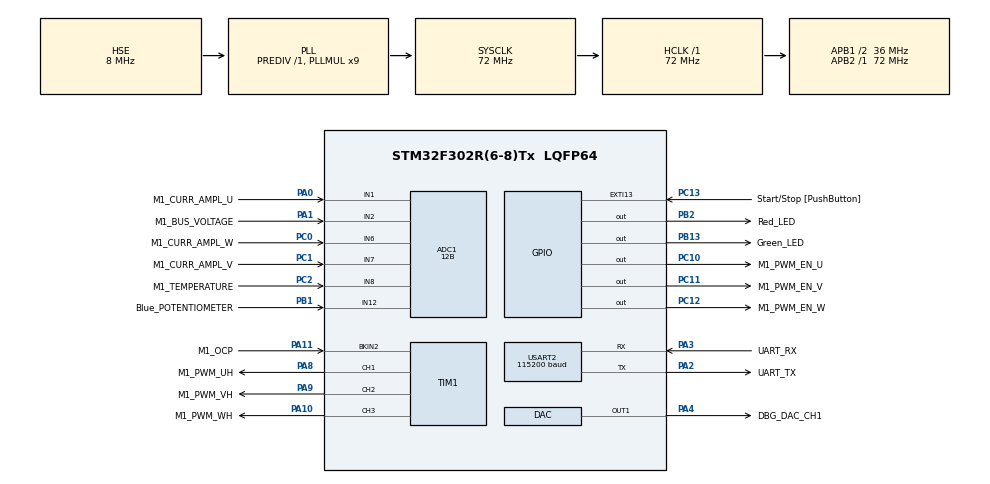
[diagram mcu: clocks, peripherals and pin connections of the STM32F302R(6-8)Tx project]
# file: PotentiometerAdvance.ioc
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ADC1.Channel-1\#ChannelRegularConversion=ADC_CHANNEL_2
ADC1.Channel-2\#ChannelRegularConversion=ADC_CHANNEL_8
ADC1.Channel-4\#ChannelRegularConversion=ADC_CHANNEL_12
ADC1.ClockPrescaler=ADC_CLOCK_SYNC_PCLK_DIV1
ADC1.ContinuousConvMode=DISABLE
ADC1.DMAContinuousRequests=DISABLE
ADC1.DataAlign=ADC_DATAALIGN_LEFT
ADC1.DiscontinuousConvMode=DISABLE
ADC1.EOCSelection=ADC_EOC_SINGLE_CONV
ADC1.EnableAnalogWatchDog1=false
ADC1.EnableAnalogWatchDog2=false
ADC1.EnableAnalogWatchDog3=false
ADC1.EnableInjectedConversion=ENABLE
ADC1.EnableRegularConversion=ENABLE
ADC1.ExternalTrigConv=ADC_SOFTWARE_START
ADC1.ExternalTrigConvEdge=ADC_EXTERNALTRIGCONVEDGE_NONE
ADC1.ExternalTrigInjecConv=ADC_EXTERNALTRIGINJECCONV_T1_TRGO
ADC1.ExternalTrigInjecConvEdge=ADC_EXTERNALTRIGINJECCONV_EDGE_RISING
ADC1.InjNumberOfConversion=3
ADC1.InjectedChannel-1\#ChannelInjectedConversion=ADC_CHANNEL_1
ADC1.InjectedChannel-2\#ChannelInjectedConversion=ADC_CHANNEL_7
ADC1.InjectedChannel-3\#ChannelInjectedConversion=ADC_CHANNEL_6
ADC1.InjectedConvMode=None
ADC1.InjectedOffset-1\#ChannelInjectedConversion=0
ADC1.InjectedOffset-2\#ChannelInjectedConversion=0
ADC1.InjectedOffset-3\#ChannelInjectedConversion=0
ADC1.InjectedOffsetNumber-1\#ChannelInjectedConversion=ADC_OFFSET_NONE
ADC1.InjectedOffsetNumber-2\#ChannelInjectedConversion=ADC_OFFSET_NONE
ADC1.InjectedOffsetNumber-3\#ChannelInjectedConversion=ADC_OFFSET_NONE
ADC1.InjectedRank-1\#ChannelInjectedConversion=1
ADC1.InjectedRank-2\#ChannelInjectedConversion=2
ADC1.InjectedRank-3\#ChannelInjectedConversion=3
ADC1.InjectedSamplingTime-1\#ChannelInjectedConversion=ADC_SAMPLETIME_7CYCLES_5
ADC1.InjectedSamplingTime-2\#ChannelInjectedConversion=ADC_SAMPLETIME_7CYCLES_5
ADC1.InjectedSamplingTime-3\#ChannelInjectedConversion=ADC_SAMPLETIME_7CYCLES_5
ADC1.LowPowerAutoWait=DISABLE
ADC1.NbrOfConversion=3
ADC1.NbrOfConversionFlag=1
ADC1.Offset-1\#ChannelRegularConversion=0
ADC1.Offset-2\#ChannelRegularConversion=0
ADC1.Offset-4\#ChannelRegularConversion=0
ADC1.OffsetNumber-1\#ChannelRegularConversion=ADC_OFFSET_NONE
ADC1.OffsetNumber-2\#ChannelRegularConversion=ADC_OFFSET_NONE
ADC1.OffsetNumber-4\#ChannelRegularConversion=ADC_OFFSET_NONE
ADC1.Overrun=ADC_OVR_DATA_PRESERVED
ADC1.QueueInjectedContext=ENABLE
ADC1.Rank-1\#ChannelRegularConversion=1
ADC1.Rank-2\#ChannelRegularConversion=2
ADC1.Rank-4\#ChannelRegularConversion=3
ADC1.Resolution=ADC_RESOLUTION_12B
ADC1.SamplingTime-1\#ChannelRegularConversion=ADC_SAMPLETIME_61CYCLES_5
ADC1.SamplingTime-2\#ChannelRegularConversion=ADC_SAMPLETIME_61CYCLES_5
ADC1.SamplingTime-4\#ChannelRegularConversion=ADC_SAMPLETIME_61CYCLES_5
ADC1.ScanConvMode=ADC_SCAN_ENABLE
ADC1.SubFamily=STM32F302x8
ADC1.master=1
DAC.DAC_OutputBuffer=DAC_OUTPUTBUFFER_DISABLE
DAC.DAC_Trigger=DAC_TRIGGER_SOFTWARE
ExtraMW=MotorControl
ExtraMW.MotorControl.Config=MotorControl
ExtraMW.MotorControl.Mode=MotorControl
ExtraMW.MotorControl.Root=MotorControlDev
ExtraMW.MotorControl.Template=templates
Mcu.Family=STM32F3
Mcu.Name=STM32F302R(6-8)Tx
Mcu.Package=LQFP64
MotorControl.ADC_1_PERIPH=ADC1
MotorControl.ADC_2_PERIPH=ADC2
MotorControl.ADC_AHBPERIPH=RCC_AHBPeriph_ADC12
MotorControl.ADC_CLOCK_WB_DIV=1
MotorControl.ADC_CLOCK_WB_FREQ=72
MotorControl.ADC_PERIPH=ADC1
MotorControl.ALIGNMENT_ANGLE_DEG=90
MotorControl.ALIGNMENT_DURATION=700
MotorControl.AMPLIFICATION_GAIN=1.53
MotorControl.ANGC={0,0,0,0,0,0,0,0}
MotorControl.BEMF_CONSISTENCY_GAIN=64
MotorControl.BEMF_CONSISTENCY_TOL=64
MotorControl.BKIN1_FILTER=0
MotorControl.BKIN2_FILTER=7
MotorControl.BKIN2_MODE=EXT_MODE
MotorControl.BKIN_MODE=NONE
MotorControl.BOARD=CUSTOM
MotorControl.BRKIN2_GPIO_AF=GPIO_AF_12
MotorControl.BRKIN_GPIO_AF=GPIO_AF_2
MotorControl.BUS_VOLTAGE_READING=true
MotorControl.CLOCK_FREQUENCY=CPU_CLK_72_MHZ
MotorControl.CLOCK_SOURCE=EXTERNAL
MotorControl.CONSTANT1_D=63808
MotorControl.CONSTANT1_Q=63808
MotorControl.CONSTANT2_QD=3624
MotorControl.CORD_BEMF_CONSISTENCY_GAIN=64
MotorControl.CORD_BEMF_CONSISTENCY_TOL=64
MotorControl.CORD_F1=1024
MotorControl.CORD_F2=16384
MotorControl.CORD_FIFO_DEPTH_01HZ=64
MotorControl.CORD_FIFO_DEPTH_DPP=64
MotorControl.CORD_GAIN1=-1301
MotorControl.CORD_GAIN2=995
MotorControl.CORD_MAX_ACCEL_DPPP=67
MotorControl.CORD_MEAS_ERRORS_BEFORE_FAULTS=3
MotorControl.CORD_VARIANCE_THRESHOLD=4
MotorControl.CPU_CLK_72_MHZ=true
MotorControl.CTRBDID=1
MotorControl.CURRENT_READING_TOPOLOGY=THREE_SHUNT
MotorControl.CURR_SAMPLING_TIME=7
MotorControl.DAC_EMULATED=false
MotorControl.DAC_FUNCTIONALITY=true
MotorControl.DAC_TIMER_CH1_GPIO_PIN=LL_GPIO_PIN_4
MotorControl.DAC_TIMER_CH1_GPIO_PORT=GPIOA
MotorControl.DAC_TIMER_CH2_GPIO_PIN=LL_GPIO_PIN_0
MotorControl.DAC_TIMER_CH2_GPIO_PORT=GPIOA
MotorControl.DAC_TIMER_REMAPPING=NO_REMAP
MotorControl.DAC_TIMER_SELECTION=TIM3
MotorControl.DC_CURRENT_RS_MEAS=1.20
MotorControl.DEBUG_DAC_CH1=true
MotorControl.DEBUG_DAC_CH2=false
MotorControl.DEFAULT_CONTROL_MODE=STC_SPEED_MODE
MotorControl.DEFAULT_DAC_CHANNEL_1=MC_PROTOCOL_REG_I_A
MotorControl.DEFAULT_DAC_CHANNEL_2=MC_PROTOCOL_REG_I_B
MotorControl.DEFAULT_DAC_MOTOR=0
MotorControl.DEFAULT_FLUX_COMPONENT=0
MotorControl.DEFAULT_TARGET_SPEED_RPM=3000
MotorControl.DEFAULT_TORQUE_COMPONENT=0
MotorControl.DISSIPATIVE_BRAKE_POLARITY=DOUT_ACTIVE_HIGH
MotorControl.DRIVES_NUMBER_SELECTION=SINGLEDRIVE
MotorControl.EMERGENCY2_STOP_GPIO_PIN=LL_GPIO_PIN_11
MotorControl.EMERGENCY2_STOP_GPIO_PORT=GPIOA
MotorControl.EMERGENCY_STOP_GPIO_PIN=LL_GPIO_PIN_11
MotorControl.EMERGENCY_STOP_GPIO_PORT=GPIOA
MotorControl.ENABLE_SL_ALGO_FROM_PHASE=1
MotorControl.ENCODER_AVAILABLE=false
MotorControl.ENCODER_PPR=400
MotorControl.ENC_AVERAGING_FIFO_DEPTH=16
MotorControl.ENC_A_GPIO_PIN=LL_GPIO_PIN_15
MotorControl.ENC_A_GPIO_PORT=GPIOA
MotorControl.ENC_B_GPIO_PIN=LL_GPIO_PIN_3
MotorControl.ENC_B_GPIO_PORT=GPIOB
MotorControl.ENC_ICx_FILTER=50
MotorControl.ENC_INVERT_SPEED=false
MotorControl.ENC_MEAS_ERRORS_BEFORE_FAULTS=3
MotorControl.ENC_TIMER_REMAPPING=NO_REMAP_TIM2
MotorControl.ENC_TIMER_SELECTION=ENC_TIM2
MotorControl.EXT_CLK_8_MHZ=true
MotorControl.EXT_CLOCK_FREQUENCY=EXT_CLK_8_MHZ
MotorControl.F1=1024
MotorControl.F2=16384
MotorControl.FEEDBACK_NET_FILTERING=false
MotorControl.FEED_FORWARD_CURRENT_REG_ENABLING=false
MotorControl.FINAL_I_ALIGNMENT=19552
MotorControl.FLUX_WEAKENING_ENABLING=false
MotorControl.FW_KIDIV=32768
MotorControl.FW_KI_GAIN=5000
MotorControl.FW_KPDIV=32768
MotorControl.FW_KP_GAIN=3000
MotorControl.FW_VOLTAGE_REF=985
MotorControl.GAIN1=-1301
MotorControl.GAIN2=995
MotorControl.H1_GPIO_PIN=LL_GPIO_PIN_15
MotorControl.H1_GPIO_PORT=GPIOA
MotorControl.H2_GPIO_PIN=LL_GPIO_PIN_3
MotorControl.H2_GPIO_PORT=GPIOB
MotorControl.H3_GPIO_PIN=LL_GPIO_PIN_10
MotorControl.H3_GPIO_PORT=GPIOB
MotorControl.HALL_AVERAGING_FIFO_DEPTH=6
MotorControl.HALL_ICx_FILTER=94
MotorControl.HALL_MEAS_ERRORS_BEFORE_FAULTS=3
MotorControl.HALL_PHASE_SHIFT=300
MotorControl.HALL_SENSORS_AVAILABLE=false
MotorControl.HALL_SENSORS_PLACEMENT=DEGREES_120
MotorControl.HALL_TIMER_REMAPPING=NO_REMAP_TIM2
MotorControl.HALL_TIMER_SELECTION=HALL_TIM2
MotorControl.HFI_AMPLITUDE=25
MotorControl.HFI_DC_0_COEFF=0.00146
MotorControl.HFI_DC_1_COEFF=0.002921
MotorControl.HFI_DC_2_COEFF=0.00146
MotorControl.HFI_DC_3_COEFF=1.889033
MotorControl.HFI_DC_4_COEFF=-0.894874
MotorControl.HFI_DEBUG_MODE=false
MotorControl.HFI_FREQUENCY=400
MotorControl.HFI_HIFRAMPLSCAN=25
MotorControl.HFI_HP_ID_0_COEFF=0.939693
MotorControl.HFI_HP_ID_1_COEFF=-1.879386
MotorControl.HFI_HP_ID_2_COEFF=0.939693
MotorControl.HFI_HP_ID_3_COEFF=1.875746
MotorControl.HFI_HP_ID_4_COEFF=-0.883026
MotorControl.HFI_IDH_DELAY=32400
MotorControl.HFI_LOCKFREQ=33
MotorControl.HFI_LP_ID_0_COEFF=0.00597
MotorControl.HFI_LP_ID_1_COEFF=0.011941
MotorControl.HFI_LP_ID_2_COEFF=0.00597
MotorControl.HFI_LP_ID_3_COEFF=1.769837
MotorControl.HFI_LP_ID_4_COEFF=-0.793719
MotorControl.HFI_MAXANGLEDIFF=3640
MotorControl.HFI_MINIMUM_SPEED_RPM=402
MotorControl.HFI_NOTCH_IQD_0_COEFF=0.969619
MotorControl.HFI_NOTCH_IQD_1_COEFF=-1.923946
MotorControl.HFI_NOTCH_IQD_2_COEFF=0.969619
MotorControl.HFI_NOTCH_IQD_3_COEFF=1.923946
MotorControl.HFI_NOTCH_IQD_4_COEFF=-0.939237
MotorControl.HFI_NSDETPOINTSSKIP=10
MotorControl.HFI_NSMAXDETPOINTS=20
MotorControl.HFI_NS_MIN_SAT_DIFF=0
MotorControl.HFI_PID_KIDIV=32768
MotorControl.HFI_PID_KI_DEFAULT=400
MotorControl.HFI_PID_KPDIV=16384
MotorControl.HFI_PID_KP_DEFAULT=800
MotorControl.HFI_PLL_KI_DEFAULT=0.00400
MotorControl.HFI_PLL_KP_DEFAULT=0.00060
MotorControl.HFI_RESTARTTIMESEC=0.1
MotorControl.HFI_RESTART_RPM_TH=(((HFI_STO_RPM_TH)+(STO_HFI_RPM_TH))/2)
MotorControl.HFI_REVERT_DIRECTION=true
MotorControl.HFI_SCANROTATIONSNO=3
MotorControl.HFI_SPD_BUFFER_DEPTH_01HZ=64
MotorControl.HFI_STEPANGLE=3640
MotorControl.HFI_STO_RPM_TH=OBS_MINIMUM_SPEED_RPM
MotorControl.HFI_WAITAFTERNS2=4
MotorControl.HFI_WAITBEFORESN=6
MotorControl.HFI_WAITSYNCH=20
MotorControl.HFI_WAITTRACK=20
MotorControl.HIGH_SIDE_BRAKE_STATE=false
MotorControl.HIGH_SIDE_IDLE_STATE=false
MotorControl.HW_COMPLEMENTED_LOW_SIDE=true
MotorControl.HW_DEAD_TIME_NS=800
MotorControl.HW_OV_CURRENT_PROT_BYPASS=false
MotorControl.ID_DEMAG=-12032
MotorControl.INRUSH_CURRLIMIT_AT_POWER_ON=false
MotorControl.INRUSH_CURRLIMIT_CHANGE_AFTER_MS=1000
MotorControl.INRUSH_CURRLIMIT_ENABLING=false
MotorControl.INRUSH_CURRLIMIT_GPIO_PIN=LL_GPIO_PIN_4
MotorControl.INRUSH_CURRLIMIT_GPIO_PORT=GPIOD
MotorControl.INRUSH_CURR_LIMITER_POLARITY=DOUT_ACTIVE_HIGH
MotorControl.INTERNAL_OVERCURRENTPROTECTION=false
MotorControl.INTERNAL_OVERVOLTAGEPROTECTION=false
MotorControl.IQMAX=12032
MotorControl.LCD_JOYSTICK_FUNCTIONALITY=false
MotorControl.LCD_MODE=LCD_FULL
MotorControl.LDLQ_RATIO=1.000
MotorControl.LOW_SIDE_BRAKE_STATE=false
MotorControl.LOW_SIDE_IDLE_STATE=false
MotorControl.LOW_SIDE_SIGNALS_ENABLING=ES_GPIO
MotorControl.LS=0.000018
MotorControl.MAX_APPLICATION_SPEED=18000
MotorControl.MAX_MODULATION_100_PER_CENT=true
MotorControl.MAX_MODULATION_INDEX=MAX_MODULATION_100_PER_CENT
MotorControl.MCU=STM32F302R8
MotorControl.MCU_SUPPLY_VOLTAGE=3.30
MotorControl.MCU_TYPE=STM32F302X8
MotorControl.MC_WORKBENCH_VERSION=5.1.2.18276
MotorControl.MEAS_ERRORS_BEFORE_FAULTS=3
MotorControl.MIN_APPLICATION_SPEED=0
MotorControl.MOTOR_MAX_SPEED_RPM=18000
MotorControl.MOTOR_TYPE=PMSM
MotorControl.MOTOR_VOLTAGE_CONSTANT=0.8
MotorControl.MTPA_ENABLING=false
MotorControl.NB_CONSECUTIVE_TESTS=2
MotorControl.NOMINAL_BUS_VOLTAGE_V=12
MotorControl.NOMINAL_CURRENT=12032
MotorControl.OBS_MEAS_ERRORS_BEFORE_FAULTS=3
MotorControl.OBS_MINIMUM_SPEED_RPM=800
MotorControl.OCPA_INVERTINGINPUT=COMPX_InvertingInput_VREF
MotorControl.OCPA_INVERTINGINPUT_GPIO_PIN=LL_GPIO_PIN_4
MotorControl.OCPA_INVERTINGINPUT_GPIO_PORT=GPIOA
MotorControl.OCPA_INVERTINGINPUT_MODE=INT_MODE
MotorControl.OCPA_NONINVERTINGINPUT=COMP1_NonInvertingInput_PA1
MotorControl.OCPA_NONINVERTINGINPUT_GPIO_PIN=LL_GPIO_PIN_1
MotorControl.OCPA_NONINVERTINGINPUT_GPIO_PORT=GPIOA
MotorControl.OCPA_OUTPUT=COMP_Output_TIM1BKIN2
MotorControl.OCPA_OUTPUTPOL=COMP_OutputPol_NonInverted
MotorControl.OCPA_OUTPUT_GPIO_AF=GPIO_AF_8
MotorControl.OCPA_OUTPUT_GPIO_PIN=LL_GPIO_PIN_0
MotorControl.OCPA_OUTPUT_GPIO_PORT=GPIOA
MotorControl.OCPA_OUTPUT_MODE=INT_MODE
MotorControl.OCPA_SELECTION=COMP1
MotorControl.OCPB_INVERTINGINPUT=COMPX_InvertingInput_VREF
MotorControl.OCPB_INVERTINGINPUT_GPIO_PIN=LL_GPIO_PIN_4
MotorControl.OCPB_INVERTINGINPUT_GPIO_PORT=GPIOA
MotorControl.OCPB_INVERTINGINPUT_MODE=INT_MODE
MotorControl.OCPB_NONINVERTINGINPUT=COMP2_NonInvertingInput_PA7
MotorControl.OCPB_NONINVERTINGINPUT_GPIO_PIN=LL_GPIO_PIN_7
MotorControl.OCPB_NONINVERTINGINPUT_GPIO_PORT=GPIOA
MotorControl.OCPB_OUTPUT=COMP_Output_TIM1BKIN2
MotorControl.OCPB_OUTPUTPOL=COMP_OutputPol_NonInverted
MotorControl.OCPB_OUTPUT_GPIO_AF=GPIO_AF_8
MotorControl.OCPB_OUTPUT_GPIO_PIN=LL_GPIO_PIN_2
MotorControl.OCPB_OUTPUT_GPIO_PORT=GPIOA
MotorControl.OCPB_OUTPUT_MODE=INT_MODE
MotorControl.OCPB_SELECTION=COMP2
MotorControl.OCPC_INVERTINGINPUT=COMPX_InvertingInput_VREF
MotorControl.OCPC_INVERTINGINPUT_GPIO_PIN=LL_GPIO_PIN_4
MotorControl.OCPC_INVERTINGINPUT_GPIO_PORT=GPIOA
MotorControl.OCPC_INVERTINGINPUT_MODE=INT_MODE
MotorControl.OCPC_NONINVERTINGINPUT=COMP3_NonInvertingInput_PD14
MotorControl.OCPC_NONINVERTINGINPUT_GPIO_PIN=LL_GPIO_PIN_14
MotorControl.OCPC_NONINVERTINGINPUT_GPIO_PORT=GPIOD
MotorControl.OCPC_OUTPUT=COMP_Output_TIM1BKIN2
MotorControl.OCPC_OUTPUTPOL=COMP_OutputPol_NonInverted
MotorControl.OCPC_OUTPUT_GPIO_AF=GPIO_AF_7
MotorControl.OCPC_OUTPUT_GPIO_PIN=LL_GPIO_PIN_8
MotorControl.OCPC_OUTPUT_GPIO_PORT=GPIOC
MotorControl.OCPC_OUTPUT_MODE=INT_MODE
MotorControl.OCPC_SELECTION=COMP3
MotorControl.OCPREF=23830
MotorControl.OCP_COMP_THRESHOLD=0.50
MotorControl.OCP_FILTER=COMP_Mode_HighSpeed
MotorControl.OCP_INVERTINGINPUT=COMPX_InvertingInput_VREF
MotorControl.OCP_INVERTINGINPUT_GPIO_PIN=LL_GPIO_PIN_4
MotorControl.OCP_INVERTINGINPUT_GPIO_PORT=GPIOA
MotorControl.OCP_INVERTINGINPUT_MODE=INT_MODE
MotorControl.OCP_NONINVERTINGINPUT=COMP2_NonInvertingInput_PA7
MotorControl.OCP_NONINVERTINGINPUT_GPIO_PIN=LL_GPIO_PIN_7
MotorControl.OCP_NONINVERTINGINPUT_GPIO_PORT=GPIOA
MotorControl.OCP_OUTPUT=COMP_Output_TIM1BKIN2
MotorControl.OCP_OUTPUTPOL=COMP_OutputPol_NonInverted
MotorControl.OCP_OUTPUT_GPIO_AF=GPIO_AF_8
MotorControl.OCP_OUTPUT_GPIO_PIN=LL_GPIO_PIN_2
MotorControl.OCP_OUTPUT_GPIO_PORT=GPIOA
MotorControl.OCP_OUTPUT_MODE=INT_MODE
MotorControl.OCP_SELECTION=COMP2
MotorControl.OFST={0,0,0,0,0,0,0,0}
MotorControl.ON_OVER_VOLTAGE=TURN_OFF_PWM
MotorControl.OPAMP1_INVERTINGINPUT=OPAMP1_InvertingInput_PGA
MotorControl.OPAMP1_INVERTINGINPUT_GPIO_PIN=LL_GPIO_PIN_3
MotorControl.OPAMP1_INVERTINGINPUT_GPIO_PORT=GPIOA
MotorControl.OPAMP1_INVERTINGINPUT_MODE=INT_MODE
MotorControl.OPAMP1_NONINVERTINGINPUT_PHA=OPAMP1_NonInvertingInput_PA1
MotorControl.OPAMP1_NONINVERTINGINPUT_PHA_GPIO_PIN=LL_GPIO_PIN_1
MotorControl.OPAMP1_NONINVERTINGINPUT_PHA_GPIO_PORT=GPIOA
MotorControl.OPAMP1_NONINVERTINGINPUT_PHB=OPAMP1_NonInvertingInput_PA7
MotorControl.OPAMP1_NONINVERTINGINPUT_PHB_GPIO_PIN=LL_GPIO_PIN_7
MotorControl.OPAMP1_NONINVERTINGINPUT_PHB_GPIO_PORT=GPIOA
MotorControl.OPAMP1_OUT_GPIO_PIN=LL_GPIO_PIN_2
MotorControl.OPAMP1_OUT_GPIO_PORT=GPIOA
MotorControl.OPAMP1_SELECTION=OPAMP1
MotorControl.OPAMP2_INVERTINGINPUT=OPAMP2_InvertingInput_PGA
MotorControl.OPAMP2_INVERTINGINPUT_GPIO_PIN=LL_GPIO_PIN_5
MotorControl.OPAMP2_INVERTINGINPUT_GPIO_PORT=GPIOC
MotorControl.OPAMP2_INVERTINGINPUT_MODE=INT_MODE
MotorControl.OPAMP2_NONINVERTINGINPUT_PHA=OPAMP2_NonInvertingInput_PB0
MotorControl.OPAMP2_NONINVERTINGINPUT_PHA_GPIO_PIN=LL_GPIO_PIN_0
MotorControl.OPAMP2_NONINVERTINGINPUT_PHA_GPIO_PORT=GPIOB
MotorControl.OPAMP2_NONINVERTINGINPUT_PHB=OPAMP2_NonInvertingInput_PA7
MotorControl.OPAMP2_NONINVERTINGINPUT_PHB_GPIO_PIN=LL_GPIO_PIN_7
MotorControl.OPAMP2_NONINVERTINGINPUT_PHB_GPIO_PORT=GPIOA
MotorControl.OPAMP2_NONINVERTINGINPUT_PHC=OPAMP2_NonInvertingInput_PB0
MotorControl.OPAMP2_NONINVERTINGINPUT_PHC_GPIO_PIN=LL_GPIO_PIN_0
MotorControl.OPAMP2_NONINVERTINGINPUT_PHC_GPIO_PORT=GPIOB
MotorControl.OPAMP2_OUT_GPIO_PIN=LL_GPIO_PIN_6
MotorControl.OPAMP2_OUT_GPIO_PORT=GPIOA
MotorControl.OPAMP2_SELECTION=OPAMP2
MotorControl.OPAMP_INVERTINGINPUT=OPAMP1_InvertingInput_PGA
MotorControl.OPAMP_INVERTINGINPUT_GPIO_PIN=LL_GPIO_PIN_3
MotorControl.OPAMP_INVERTINGINPUT_GPIO_PORT=GPIOA
MotorControl.OPAMP_INVERTINGINPUT_MODE=INT_MODE
MotorControl.OPAMP_NONINVERTINGINPUT=OPAMP1_NonInvertingInput_PA7
MotorControl.OPAMP_NONINVERTINGINPUT_GPIO_PIN=LL_GPIO_PIN_7
MotorControl.OPAMP_NONINVERTINGINPUT_GPIO_PORT=GPIOA
MotorControl.OPAMP_OUT_GPIO_PIN=LL_GPIO_PIN_2
MotorControl.OPAMP_OUT_GPIO_PORT=GPIOA
MotorControl.OPAMP_PGACONNECT=OPAMP_PGAConnect_No
MotorControl.OPAMP_PGAGAIN=OPAMP_OPAMP_PGAGain_2
MotorControl.OPAMP_SELECTION=OPAMP1
MotorControl.OPAMP_TYPE_GAIN=INTERNAL
MotorControl.OPEN_LOOP_FOC=false
MotorControl.OPEN_LOOP_K=44
MotorControl.OPEN_LOOP_OFF=4400
MotorControl.OPEN_LOOP_SPEED_RAMP_DURATION_MS=1000
MotorControl.OPEN_LOOP_SPEED_RPM=100
MotorControl.OPEN_LOOP_VF=false
MotorControl.OPEN_LOOP_VOLTAGE_d=6000
MotorControl.OVERCURR_FEEDBACK_POLARITY=EMSTOP2_ACTIVE_LOW
MotorControl.OVERCURR_PROTECTION_HW_DISABLING=DOUT_ACTIVE_HIGH
MotorControl.OVPREF=23830
MotorControl.OVP_FILTER=COMP_Mode_HighSpeed
MotorControl.OVP_INVERTINGINPUT=COMPX_InvertingInput_VREF
MotorControl.OVP_INVERTINGINPUT_GPIO_PIN=LL_GPIO_PIN_4
MotorControl.OVP_INVERTINGINPUT_GPIO_PORT=GPIOA
MotorControl.OVP_INVERTINGINPUT_MODE=INT_MODE
MotorControl.OVP_NONINVERTINGINPUT=COMP2_NonInvertingInput_PA7
MotorControl.OVP_NONINVERTINGINPUT_GPIO_PIN=LL_GPIO_PIN_7
MotorControl.OVP_NONINVERTINGINPUT_GPIO_PORT=GPIOA
MotorControl.OVP_OUTPUT=COMP_Output_TIM1BKIN
MotorControl.OVP_OUTPUTPOL=COMP_OutputPol_NonInverted
MotorControl.OVP_OUTPUT_GPIO_AF=GPIO_AF_8
MotorControl.OVP_OUTPUT_GPIO_PIN=LL_GPIO_PIN_2
MotorControl.OVP_OUTPUT_GPIO_PORT=GPIOA
MotorControl.OVP_OUTPUT_MODE=INT_MODE
MotorControl.OVP_SELECTION=COMP2
MotorControl.OV_CURR_BYPASS_GPIO_PIN=LL_GPIO_PIN_5
MotorControl.OV_CURR_BYPASS_GPIO_PORT=GPIOD
MotorControl.OV_TEMPERATURE_HYSTERESIS_C=10
MotorControl.OV_TEMPERATURE_PROT_ENABLING=true
MotorControl.OV_TEMPERATURE_THRESHOLD_C=110
MotorControl.OV_VOLTAGE_PROT_ENABLING=true
MotorControl.OV_VOLTAGE_THRESHOLD_V=36
MotorControl.PHASE1_DURATION=500
MotorControl.PHASE1_FINAL_CURRENT=10026
MotorControl.PHASE1_FINAL_SPEED_RPM=0
MotorControl.PHASE2_DURATION=1000
MotorControl.PHASE2_FINAL_CURRENT=10026
MotorControl.PHASE2_FINAL_SPEED_RPM=3000
MotorControl.PHASE3_DURATION=0
MotorControl.PHASE3_FINAL_CURRENT=10026
MotorControl.PHASE3_FINAL_SPEED_RPM=3000
MotorControl.PHASE4_DURATION=0
MotorControl.PHASE4_FINAL_CURRENT=10026
MotorControl.PHASE4_FINAL_SPEED_RPM=3000
MotorControl.PHASE5_DURATION=0
MotorControl.PHASE5_FINAL_CURRENT=10026
MotorControl.PHASE5_FINAL_SPEED_RPM=3000
MotorControl.PHASE_CURRENTS_ADC=ADC1_2
MotorControl.PHASE_CURRENTS_CHANNEL=ADC_CHANNEL_9
MotorControl.PHASE_CURRENTS_GPIO_PIN=LL_GPIO_PIN_0
MotorControl.PHASE_CURRENTS_GPIO_PORT=GPIOA
MotorControl.PHASE_UH_GPIO_AF=GPIO_AF_6
MotorControl.PHASE_UH_GPIO_PIN=LL_GPIO_PIN_8
MotorControl.PHASE_UH_GPIO_PORT=GPIOA
MotorControl.PHASE_UH_POLARITY=H_ACTIVE_HIGH
MotorControl.PHASE_UL_GPIO_AF=GPIO_AF_0
MotorControl.PHASE_UL_GPIO_PIN=LL_GPIO_PIN_10
MotorControl.PHASE_UL_GPIO_PORT=GPIOC
MotorControl.PHASE_UL_POLARITY=L_ACTIVE_HIGH
MotorControl.PHASE_U_CURR_ADC=ADC1
MotorControl.PHASE_U_CURR_CHANNEL=ADC_CHANNEL_1
MotorControl.PHASE_U_GPIO_PIN=LL_GPIO_PIN_0
MotorControl.PHASE_U_GPIO_PORT=GPIOA
MotorControl.PHASE_VH_GPIO_AF=GPIO_AF_6
MotorControl.PHASE_VH_GPIO_PIN=LL_GPIO_PIN_9
MotorControl.PHASE_VH_GPIO_PORT=GPIOA
MotorControl.PHASE_VH_POLARITY=H_ACTIVE_HIGH
MotorControl.PHASE_VL_GPIO_AF=GPIO_AF_0
MotorControl.PHASE_VL_GPIO_PIN=LL_GPIO_PIN_11
MotorControl.PHASE_VL_GPIO_PORT=GPIOC
MotorControl.PHASE_VL_POLARITY=L_ACTIVE_HIGH
MotorControl.PHASE_V_CURR_ADC=ADC1
MotorControl.PHASE_V_CURR_CHANNEL=ADC_CHANNEL_7
MotorControl.PHASE_V_GPIO_PIN=LL_GPIO_PIN_1
MotorControl.PHASE_V_GPIO_PORT=GPIOC
MotorControl.PHASE_WH_GPIO_AF=GPIO_AF_6
MotorControl.PHASE_WH_GPIO_PIN=LL_GPIO_PIN_10
MotorControl.PHASE_WH_GPIO_PORT=GPIOA
MotorControl.PHASE_WH_POLARITY=H_ACTIVE_HIGH
MotorControl.PHASE_WL_GPIO_AF=GPIO_AF_0
MotorControl.PHASE_WL_GPIO_PIN=LL_GPIO_PIN_12
MotorControl.PHASE_WL_GPIO_PORT=GPIOC
MotorControl.PHASE_WL_POLARITY=L_ACTIVE_HIGH
MotorControl.PHASE_W_CURR_ADC=ADC1
MotorControl.PHASE_W_CURR_CHANNEL=ADC_CHANNEL_6
MotorControl.PHASE_W_GPIO_PIN=LL_GPIO_PIN_0
MotorControl.PHASE_W_GPIO_PORT=GPIOC
MotorControl.PID_FLUX_KD_DEFAULT=100
MotorControl.PID_FLUX_KI_DEFAULT=294
MotorControl.PID_FLUX_KP_DEFAULT=964
MotorControl.PID_SPEED_KD_DEFAULT=0
MotorControl.PID_SPEED_KI_DEFAULT=600
MotorControl.PID_SPEED_KP_DEFAULT=1000
MotorControl.PID_TORQUE_KD_DEFAULT=100
MotorControl.PID_TORQUE_KI_DEFAULT=294
MotorControl.PID_TORQUE_KP_DEFAULT=964
MotorControl.PLL_KI_GAIN=118
MotorControl.PLL_KP_GAIN=3352
MotorControl.POLE_PAIR_NUM=7
MotorControl.PWBDID=2
MotorControl.PWM_FREQUENCY=20000
MotorControl.PWM_TIMER_REMAPPING=PWM_PARTIAL_REMAP
MotorControl.PWM_TIMER_SELECTION=PWM_TIM1
MotorControl.REGCONVADC=ADC1
MotorControl.REGULATION_EXECUTION_RATE=1
MotorControl.RS=0.11
MotorControl.RSHUNT=0.330
MotorControl.R_BRAKE_GPIO_PIN=LL_GPIO_PIN_5
MotorControl.R_BRAKE_GPIO_PORT=GPIOD
MotorControl.R_BRAKE_SWITCH_OFF_THRES_V=29
MotorControl.SEGDIV=0
MotorControl.SERIAL_COMMUNICATION=true
MotorControl.SERIAL_COM_CHANNEL1=MC_PROTOCOL_REG_I_A
MotorControl.SERIAL_COM_CHANNEL2=MC_PROTOCOL_REG_I_A
MotorControl.SERIAL_COM_MODE=COM_BIDIRECTIONAL
MotorControl.SERIAL_COM_MOTOR=0
MotorControl.SHARED_SIGNAL_ENABLE=false
MotorControl.SINGLEDRIVE=true
MotorControl.SPD_DIFFERENTIAL_TERM_ENABLING=false
MotorControl.SPEED_BAND_LOWER_LIMIT=15
MotorControl.SPEED_BAND_UPPER_LIMIT=17
MotorControl.SPEED_FEEDBACK_CHECK=true
MotorControl.SPEED_LOOP_FREQUENCY_HZ=1000
MotorControl.SPEED_SENSOR_SELECTION=STATE_OBSERVER_PLL
MotorControl.SP_KDDIV=16
MotorControl.SP_KIDIV=256
MotorControl.SP_KPDIV=16
MotorControl.STARTING_ANGLE_DEG=90
MotorControl.START_STOP_BTN=false
MotorControl.START_STOP_GPIO_PIN=LL_GPIO_PIN_13
MotorControl.START_STOP_GPIO_PORT=GPIOC
MotorControl.START_STOP_POLARITY=DIN_ACTIVE_LOW
MotorControl.STATE_OBSERVER_PLL=true
MotorControl.STM32F302X8=true
MotorControl.STO_FIFO_DEPTH_01HZ=64
MotorControl.STO_FIFO_DEPTH_DPP=64
MotorControl.STO_HFI_RPM_TH=460
MotorControl.SW_DEADTIME_NS=800
MotorControl.SW_OV_CURRENT_PROT_ENABLING=true
MotorControl.T0_C=25
MotorControl.TEMPERATURE_READING=true
MotorControl.TEMP_ADC_SAMPLING_TIME=61
MotorControl.TEMP_FDBK_ADC=ADC1
MotorControl.TEMP_FDBK_CHANNEL=ADC_CHANNEL_8
MotorControl.TEMP_FDBK_GPIO_PIN=LL_GPIO_PIN_2
MotorControl.TEMP_FDBK_GPIO_PORT=GPIOC
MotorControl.TFDIFFERENTIAL_TERM_ENABLING=false
MotorControl.TF_KDDIV=8192
MotorControl.TF_KIDIV=16384
MotorControl.TF_KPDIV=16384
MotorControl.THREE_SHUNT=true
MotorControl.TNOISE_NS=700
MotorControl.TRANSITION_DURATION=25
MotorControl.TRISE_NS=700
MotorControl.T_MAX=110
MotorControl.UD_VOLTAGE_THRESHOLD_V=5
MotorControl.USART_REMAPPING=NO_REMAP_USART2
MotorControl.USART_RX_GPIO_PIN=LL_GPIO_PIN_3
MotorControl.USART_RX_GPIO_PORT=GPIOA
MotorControl.USART_SELECTION=USE_USART2
MotorControl.USART_SPEED=115200
MotorControl.USART_TX_GPIO_PIN=LL_GPIO_PIN_2
MotorControl.USART_TX_GPIO_PORT=GPIOA
MotorControl.USE_INTERNAL_OPAMP=false
MotorControl.UV_VOLTAGE_PROT_ENABLING=true
MotorControl.V0_V=1.055
MotorControl.VARIANCE_THRESHOLD=0.1
MotorControl.VBUS_ADC=ADC1
MotorControl.VBUS_ADC_SAMPLING_TIME=61
MotorControl.VBUS_CHANNEL=ADC_CHANNEL_2
MotorControl.VBUS_GPIO_PIN=LL_GPIO_PIN_1
MotorControl.VBUS_GPIO_PORT=GPIOA
MotorControl.VBUS_PARTITIONING_FACTOR=0.0522
MotorControl.dV_dT=0.023
NVIC.ADC1_IRQn=true\:2\:0\:true\:true\:false\:3\:true\:true
NVIC.EXTI15_10_IRQn=true\:0\:0\:false\:true\:false\:5\:true\:true
NVIC.PriorityGroup=NVIC_PRIORITYGROUP_3
NVIC.TIM1_BRK_TIM15_IRQn=true\:4\:1\:true\:true\:false\:1\:true\:true
NVIC.TIM1_UP_TIM16_IRQn=true\:0\:0\:false\:true\:false\:2\:true\:true
NVIC.USART2_IRQn=true\:3\:1\:true\:true\:false\:4\:true\:true
PA0.GPIO_Label=M1_CURR_AMPL_U
PA0.Mode=IN1-Single-Ended
PA0.Signal=ADC1_IN1
PA1.GPIO_Label=M1_BUS_VOLTAGE
PA1.Mode=IN2-Single-Ended
PA1.Signal=ADC1_IN2
PA10.GPIO_Label=M1_PWM_WH
PA10.GPIO_PuPd=GPIO_PULLDOWN
PA10.GPIO_Speed=GPIO_SPEED_FREQ_HIGH
PA10.Signal=S_TIM1_CH3
PA11.GPIO_Label=M1_OCP
PA11.GPIO_PuPd=GPIO_PULLUP
PA11.Mode=Activate-Break-Input-2
PA11.Signal=TIM1_BKIN2
PA13.GPIO_Label=TMS
PA13.Mode=Serial_Wire
PA13.Signal=SYS_JTMS-SWDIO
PA14.GPIO_Label=TCK
PA14.Mode=Serial_Wire
PA14.Signal=SYS_JTCK-SWCLK
PA2.GPIO_Label=UART_TX
PA2.GPIO_Mode=GPIO_MODE_AF_PP
PA2.GPIO_PuPd=GPIO_NOPULL
PA2.GPIO_Speed=GPIO_SPEED_FREQ_LOW
PA2.Mode=Asynchronous
PA2.Signal=USART2_TX
PA3.GPIO_Label=UART_RX
PA3.GPIO_Mode=GPIO_MODE_AF_PP
PA3.GPIO_PuPd=GPIO_NOPULL
PA3.GPIO_Speed=GPIO_SPEED_FREQ_LOW
PA3.Mode=Asynchronous
PA3.Signal=USART2_RX
PA4.GPIO_Label=DBG_DAC_CH1
PA4.Signal=COMP_DAC1_group
PA8.GPIO_Label=M1_PWM_UH
PA8.GPIO_PuPd=GPIO_PULLDOWN
PA8.GPIO_Speed=GPIO_SPEED_FREQ_HIGH
PA8.Signal=S_TIM1_CH1
PA9.GPIO_Label=M1_PWM_VH
PA9.GPIO_PuPd=GPIO_PULLDOWN
PA9.GPIO_Speed=GPIO_SPEED_FREQ_HIGH
PA9.Signal=S_TIM1_CH2
PB1.GPIO_Label=Blue_POTENTIOMETER
PB1.Mode=IN12-Single-Ended
PB1.Signal=ADC1_IN12
PB13.GPIO_Label=Green_LED
PB13.Signal=GPIO_Output
PB2.GPIO_Label=Red_LED
PB2.Signal=GPIO_Output
PC0.GPIO_Label=M1_CURR_AMPL_W
PC0.Signal=ADCx_IN6
PC1.GPIO_Label=M1_CURR_AMPL_V
PC1.Signal=ADCx_IN7
PC10.GPIO_Label=M1_PWM_EN_U
PC10.GPIO_PuPd=GPIO_PULLDOWN
PC10.GPIO_Speed=GPIO_SPEED_FREQ_HIGH
PC10.Signal=GPIO_Output
PC11.GPIO_Label=M1_PWM_EN_V
PC11.GPIO_PuPd=GPIO_PULLDOWN
PC11.GPIO_Speed=GPIO_SPEED_FREQ_HIGH
PC11.Signal=GPIO_Output
PC12.GPIO_Label=M1_PWM_EN_W
PC12.GPIO_PuPd=GPIO_PULLDOWN
PC12.GPIO_Speed=GPIO_SPEED_FREQ_HIGH
PC12.Signal=GPIO_Output
PC13.GPIO_Label=Start/Stop [PushButton]
PC13.GPIO_ModeDefaultEXTI=GPIO_MODE_IT_FALLING
PC13.Signal=GPXTI13
PC2.GPIO_Label=M1_TEMPERATURE
PC2.Signal=ADCx_IN8
PF0-OSC_IN.Mode=HSE-External-Oscillator
PF0-OSC_IN.Signal=RCC_OSC_IN
PF1-OSC_OUT.Mode=HSE-External-Oscillator
PF1-OSC_OUT.Signal=RCC_OSC_OUT
ProjectManager.HeapSize=0x200
ProjectManager.StackSize=0x400
ProjectManager.TargetToolchain=TrueSTUDIO
RCC.AHBFreq_Value=72000000
RCC.APB1CLKDivider=RCC_HCLK_DIV2
RCC.APB1Freq_Value=36000000
RCC.APB1TimFreq_Value=72000000
RCC.APB2Freq_Value=72000000
RCC.APB2TimFreq_Value=72000000
RCC.CortexFreq_Value=72000000
RCC.HCLKFreq_Value=72000000
RCC.HSE_VALUE=8000000
RCC.HSI_VALUE=8000000
RCC.LSE_VALUE=32768
RCC.PLLMUL=RCC_PLL_MUL9
RCC.PLLSourceVirtual=RCC_PLLSOURCE_HSE
RCC.SYSCLKFreq_VALUE=72000000
RCC.SYSCLKSourceVirtual=RCC_SYSCLKSOURCE_PLLCLK
RCC.USBFreq_Value=72000000
SH.ADCx_IN6.0=ADC1_IN6,IN6-Single-Ended
SH.ADCx_IN7.0=ADC1_IN7,IN7-Single-Ended
SH.ADCx_IN8.0=ADC1_IN8,IN8-Single-Ended
SH.COMP_DAC1_group.0=DAC_OUT1,DAC_OUT1
SH.S_TIM1_CH1.0=TIM1_CH1,PWM Generation1 CH1
SH.S_TIM1_CH2.0=TIM1_CH2,PWM Generation2 CH2
SH.S_TIM1_CH3.0=TIM1_CH3,PWM Generation3 CH3
TIM1.AutoReloadPreload=TIM_AUTORELOAD_PRELOAD_DISABLE
TIM1.AutomaticOutput=TIM_AUTOMATICOUTPUT_DISABLE
TIM1.Break2Filter=7
TIM1.Break2Polarity=TIM_BREAK2POLARITY_LOW
TIM1.Break2State=TIM_BREAK2_ENABLE
TIM1.BreakFilter=0
TIM1.BreakPolarity=TIM_BREAKPOLARITY_HIGH
TIM1.BreakState=TIM_BREAK_ENABLE
TIM1.Channel=TIM_CHANNEL_4
TIM1.Channel-PWM\ Generation1\ CH1=TIM_CHANNEL_1
TIM1.Channel-PWM\ Generation2\ CH2=TIM_CHANNEL_2
TIM1.Channel-PWM\ Generation3\ CH3=TIM_CHANNEL_3
TIM1.Channel-PWM\ Generation4\ No\ Output=TIM_CHANNEL_4
TIM1.ClearInputSource=TIM_CLEARINPUTSOURCE_NONE
TIM1.ClockDivision=TIM_CLOCKDIVISION_DIV2
TIM1.CounterMode=TIM_COUNTERMODE_CENTERALIGNED1
TIM1.LockLevel=TIM_LOCKLEVEL_1
TIM1.OCFastMode_PWM=TIM_OCFAST_DISABLE
TIM1.OCIdleState_1=TIM_OCIDLESTATE_RESET
TIM1.OCIdleState_2=TIM_OCIDLESTATE_RESET
TIM1.OCIdleState_3=TIM_OCIDLESTATE_RESET
TIM1.OCIdleState_4=TIM_OCIDLESTATE_RESET
TIM1.OCIdleState_5=TIM_OCIDLESTATE_RESET
TIM1.OCIdleState_6=TIM_OCIDLESTATE_RESET
TIM1.OCMode_PWM-PWM\ Generation1\ CH1=TIM_OCMODE_PWM1
TIM1.OCMode_PWM-PWM\ Generation2\ CH2=TIM_OCMODE_PWM1
TIM1.OCMode_PWM-PWM\ Generation3\ CH3=TIM_OCMODE_PWM1
TIM1.OCMode_PWM-PWM\ Generation4\ No\ Output=TIM_OCMODE_PWM2
TIM1.OCPolarity_1=TIM_OCPOLARITY_HIGH
TIM1.OCPolarity_2=TIM_OCPOLARITY_HIGH
TIM1.OCPolarity_3=TIM_OCPOLARITY_HIGH
TIM1.OCPolarity_4=TIM_OCPOLARITY_HIGH
TIM1.OCPolarity_5=TIM_OCPOLARITY_HIGH
TIM1.OCPolarity_6=TIM_OCPOLARITY_HIGH
TIM1.OffStateIDLEMode=TIM_OSSI_ENABLE
TIM1.OffStateRunMode=TIM_OSSR_ENABLE
TIM1.Period=((PWM_PERIOD_CYCLES) / 2)
TIM1.Prescaler=((TIM_CLOCK_DIVIDER) - 1)
TIM1.Pulse-PWM\ Generation1\ CH1=((PWM_PERIOD_CYCLES) / 4)
TIM1.Pulse-PWM\ Generation2\ CH2=((PWM_PERIOD_CYCLES) / 4)
TIM1.Pulse-PWM\ Generation3\ CH3=((PWM_PERIOD_CYCLES) / 4)
TIM1.Pulse-PWM\ Generation4\ No\ Output=(((PWM_PERIOD_CYCLES) / 2) - (HTMIN))
TIM1.Pulse-PWM\ Generation5\ No\ Output=(((PWM_PERIOD_CYCLES) / 2) + 1)
TIM1.Pulse-PWM\ Generation6\ No\ Output=(((PWM_PERIOD_CYCLES) / 2) + 1)
TIM1.RepetitionCounter=(REP_COUNTER)
TIM1.TIM_MasterOutputTrigger=TIM_TRGO_OC4REF
TIM1.TIM_MasterOutputTrigger2=TIM_TRGO2_RESET
TIM1.TIM_MasterSlaveMode=TIM_MASTERSLAVEMODE_DISABLE
TIM1.TIM_SlaveMode=TIM_SLAVEMODE_TRIGGER
USART2.BaudRate=115200
USART2.VirtualMode-Asynchronous=VM_ASYNC
USART2.WordLength=WORDLENGTH_8B
VP_MotorControl_MC_ENABLED.Mode=Enabled
VP_TIM1_VS_ClockSourceITR.Mode=TriggerSource_ITR1
VP_TIM1_VS_ControllerModeTrigger.Mode=Trigger Mode
VP_TIM1_VS_no_output4.Mode=PWM Generation4 No Output
board=MCSDK - Potentiometer + STM32CubeMx usage

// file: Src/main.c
/**
  ******************************************************************************
  * @file           : main.c
  * @brief          : Main program body
  ******************************************************************************
  * @attention
  *
  * <h2><center>&copy; Copyright (c) 2019 STMicroelectronics.
  * All rights reserved.</center></h2>
  *
  * This software component is licensed by ST under Ultimate Liberty license
  * SLA0044, the "License"; You may not use this file except in compliance with
  * the License. You may obtain a copy of the License at:
  *                             www.st.com/SLA0044
  *
  ******************************************************************************
  */
#include "main.h"
#include "stm32f3xx_hal.h"
#include "motorcontrol.h"

/* USER CODE BEGIN Includes */
#include "state_machine.h"
#include "mc_api.h"
#include "drive_parameters.h"
#include "regular_conversion_manager.h"
/* USER CODE END Includes */

ADC_HandleTypeDef hadc1;

DAC_HandleTypeDef hdac;

TIM_HandleTypeDef htim1;

UART_HandleTypeDef huart2;

/* USER CODE BEGIN PV */
RegConv_t  PotentiometerConv;
uint8_t PotentiometerHandle;

/* USER CODE END PV */

void SystemClock_Config(void);
static void MX_GPIO_Init(void);
static void MX_ADC1_Init(void);
static void MX_DAC_Init(void);
static void MX_TIM1_Init(void);
static void MX_USART2_UART_Init(void);
static void MX_NVIC_Init(void);

void HAL_TIM_MspPostInit(TIM_HandleTypeDef *htim);

/* USER CODE BEGIN PFP */
/* Private function prototypes -----------------------------------------------*/
void potentiometer_cb(uint8_t handle, uint16_t potentiometer_value, void *UserData);
#define SPEED_RAMP_DURATION (500) /* Duration for speed ramp */

/* USER CODE END PFP */

int main(void)
{
  /* USER CODE BEGIN 1 */
  /* PBo - Exercise #4 */
  #ifdef Blue_POTENTIOMETER_GPIO_Port
  PotentiometerConv.regADC = ADC1 ;
  PotentiometerConv.channel = ADC_CHANNEL_12;
  PotentiometerConv.samplingTime = ADC_SAMPLETIME_61CYCLES_5;
  PotentiometerHandle = RCM_RegisterRegConv_WithCB (&PotentiometerConv, potentiometer_cb, NULL);
  #endif

  /* USER CODE END 1 */

  /* MCU Configuration----------------------------------------------------------*/

  /* Reset of all peripherals, Initializes the Flash interface and the Systick. */
  HAL_Init();

  /* Configure the system clock */
  SystemClock_Config();

  /* Initialize all configured peripherals */
  MX_GPIO_Init();
  MX_ADC1_Init();
  MX_DAC_Init();
  MX_TIM1_Init();
  MX_USART2_UART_Init();
  MX_MotorControl_Init();

  /* Initialize interrupts */
  MX_NVIC_Init();

  /* Infinite loop */
  /* USER CODE BEGIN WHILE */
  while (1)
  {
	State_t MState = MC_GetSTMStateMotor1();

	/* PBo - Exercise #1 */
    #ifdef Green_LED_GPIO_Port
    if (MState == RUN)
    {
      HAL_GPIO_WritePin(Green_LED_GPIO_Port, Green_LED_Pin, GPIO_PIN_SET);
    }
    else
    {
      HAL_GPIO_WritePin(Green_LED_GPIO_Port, Green_LED_Pin, GPIO_PIN_RESET);
    }
    #endif

    /* PBo - Exercise #2 */
    #ifdef Red_LED_GPIO_Port
    if ( (MState == FAULT_NOW) ||
		 (MState == FAULT_OVER)  )
    {
      HAL_GPIO_WritePin(Red_LED_GPIO_Port, Red_LED_Pin, GPIO_PIN_SET);
    }
    else
    {
      HAL_GPIO_WritePin(Red_LED_GPIO_Port, Red_LED_Pin, GPIO_PIN_RESET);
    }
    #endif

    /* PBo - Exercise #4 */
    #ifdef Blue_POTENTIOMETER_GPIO_Port
    /* Check regular conversion readiness */
     if (RCM_GetUserConvState() == RCM_USERCONV_IDLE)
     {
       /* if Idle, then program a new conversion request */
       RCM_RequestUserConv(PotentiometerHandle);
     }
    #endif

  /* USER CODE END WHILE */

  }

}

void SystemClock_Config(void)
{

  RCC_OscInitTypeDef RCC_OscInitStruct;
  RCC_ClkInitTypeDef RCC_ClkInitStruct;
  RCC_PeriphCLKInitTypeDef PeriphClkInit;

    /**Initializes the CPU, AHB and APB busses clocks
    */
  RCC_OscInitStruct.OscillatorType = RCC_OSCILLATORTYPE_HSE;
  RCC_OscInitStruct.HSEState = RCC_HSE_ON;
  RCC_OscInitStruct.HSEPredivValue = RCC_HSE_PREDIV_DIV1;
  RCC_OscInitStruct.HSIState = RCC_HSI_ON;
  RCC_OscInitStruct.PLL.PLLState = RCC_PLL_ON;
  RCC_OscInitStruct.PLL.PLLSource = RCC_PLLSOURCE_HSE;
  RCC_OscInitStruct.PLL.PLLMUL = RCC_PLL_MUL9;
  if (HAL_RCC_OscConfig(&RCC_OscInitStruct) != HAL_OK)
  {
    _Error_Handler(__FILE__, __LINE__);
  }

    /**Initializes the CPU, AHB and APB busses clocks
    */
  RCC_ClkInitStruct.ClockType = RCC_CLOCKTYPE_HCLK|RCC_CLOCKTYPE_SYSCLK
                              |RCC_CLOCKTYPE_PCLK1|RCC_CLOCKTYPE_PCLK2;
  RCC_ClkInitStruct.SYSCLKSource = RCC_SYSCLKSOURCE_PLLCLK;
  RCC_ClkInitStruct.AHBCLKDivider = RCC_SYSCLK_DIV1;
  RCC_ClkInitStruct.APB1CLKDivider = RCC_HCLK_DIV2;
  RCC_ClkInitStruct.APB2CLKDivider = RCC_HCLK_DIV1;

  if (HAL_RCC_ClockConfig(&RCC_ClkInitStruct, FLASH_LATENCY_2) != HAL_OK)
  {
    _Error_Handler(__FILE__, __LINE__);
  }

  PeriphClkInit.PeriphClockSelection = RCC_PERIPHCLK_TIM1;
  PeriphClkInit.Tim1ClockSelection = RCC_TIM1CLK_HCLK;
  if (HAL_RCCEx_PeriphCLKConfig(&PeriphClkInit) != HAL_OK)
  {
    _Error_Handler(__FILE__, __LINE__);
  }

    /**Configure the Systick interrupt time
    */
  HAL_SYSTICK_Config(HAL_RCC_GetHCLKFreq()/1000);

    /**Configure the Systick
    */
  HAL_SYSTICK_CLKSourceConfig(SYSTICK_CLKSOURCE_HCLK);

  /* SysTick_IRQn interrupt configuration */
  HAL_NVIC_SetPriority(SysTick_IRQn, 4, 0);
}

/**
  * @brief NVIC Configuration.
  * @retval None
  */
static void MX_NVIC_Init(void)
{
  /* TIM1_BRK_TIM15_IRQn interrupt configuration */
  HAL_NVIC_SetPriority(TIM1_BRK_TIM15_IRQn, 4, 1);
  HAL_NVIC_EnableIRQ(TIM1_BRK_TIM15_IRQn);
  /* ADC1_IRQn interrupt configuration */
  HAL_NVIC_SetPriority(ADC1_IRQn, 2, 0);
  HAL_NVIC_EnableIRQ(ADC1_IRQn);
  /* USART2_IRQn interrupt configuration */
  HAL_NVIC_SetPriority(USART2_IRQn, 3, 1);
  HAL_NVIC_EnableIRQ(USART2_IRQn);
  /* EXTI15_10_IRQn interrupt configuration */
  HAL_NVIC_SetPriority(EXTI15_10_IRQn, 7, 0);
  HAL_NVIC_EnableIRQ(EXTI15_10_IRQn);
}

/* ADC1 init function */
static void MX_ADC1_Init(void)
{

  ADC_InjectionConfTypeDef sConfigInjected;
  ADC_ChannelConfTypeDef sConfig;

    /**Common config
    */
  hadc1.Instance = ADC1;
  hadc1.Init.ClockPrescaler = ADC_CLOCK_SYNC_PCLK_DIV1;
  hadc1.Init.Resolution = ADC_RESOLUTION_12B;
  hadc1.Init.ScanConvMode = ADC_SCAN_ENABLE;
  hadc1.Init.ContinuousConvMode = DISABLE;
  hadc1.Init.DiscontinuousConvMode = DISABLE;
  hadc1.Init.ExternalTrigConvEdge = ADC_EXTERNALTRIGCONVEDGE_NONE;
  hadc1.Init.ExternalTrigConv = ADC_SOFTWARE_START;
  hadc1.Init.DataAlign = ADC_DATAALIGN_LEFT;
  hadc1.Init.NbrOfConversion = 3;
  hadc1.Init.DMAContinuousRequests = DISABLE;
  hadc1.Init.EOCSelection = ADC_EOC_SINGLE_CONV;
  hadc1.Init.LowPowerAutoWait = DISABLE;
  hadc1.Init.Overrun = ADC_OVR_DATA_PRESERVED;
  if (HAL_ADC_Init(&hadc1) != HAL_OK)
  {
    _Error_Handler(__FILE__, __LINE__);
  }

    /**Configure Injected Channel
    */
  sConfigInjected.InjectedChannel = ADC_CHANNEL_1;
  sConfigInjected.InjectedRank = ADC_INJECTED_RANK_1;
  sConfigInjected.InjectedSingleDiff = ADC_SINGLE_ENDED;
  sConfigInjected.InjectedNbrOfConversion = 3;
  sConfigInjected.InjectedSamplingTime = ADC_SAMPLETIME_7CYCLES_5;
  sConfigInjected.ExternalTrigInjecConvEdge = ADC_EXTERNALTRIGINJECCONV_EDGE_RISING;
  sConfigInjected.ExternalTrigInjecConv = ADC_EXTERNALTRIGINJECCONV_T1_TRGO;
  sConfigInjected.AutoInjectedConv = DISABLE;
  sConfigInjected.InjectedDiscontinuousConvMode = DISABLE;
  sConfigInjected.QueueInjectedContext = ENABLE;
  sConfigInjected.InjectedOffset = 0;
  sConfigInjected.InjectedOffsetNumber = ADC_OFFSET_NONE;
  if (HAL_ADCEx_InjectedConfigChannel(&hadc1, &sConfigInjected) != HAL_OK)
  {
    _Error_Handler(__FILE__, __LINE__);
  }

    /**Configure Injected Channel
    */
  sConfigInjected.InjectedChannel = ADC_CHANNEL_7;
  sConfigInjected.InjectedRank = ADC_INJECTED_RANK_2;
  if (HAL_ADCEx_InjectedConfigChannel(&hadc1, &sConfigInjected) != HAL_OK)
  {
    _Error_Handler(__FILE__, __LINE__);
  }

    /**Configure Injected Channel
    */
  sConfigInjected.InjectedChannel = ADC_CHANNEL_6;
  sConfigInjected.InjectedRank = ADC_INJECTED_RANK_3;
  if (HAL_ADCEx_InjectedConfigChannel(&hadc1, &sConfigInjected) != HAL_OK)
  {
    _Error_Handler(__FILE__, __LINE__);
  }

    /**Configure Regular Channel
    */
  sConfig.Channel = ADC_CHANNEL_2;
  sConfig.Rank = ADC_REGULAR_RANK_1;
  sConfig.SingleDiff = ADC_SINGLE_ENDED;
  sConfig.SamplingTime = ADC_SAMPLETIME_61CYCLES_5;
  sConfig.OffsetNumber = ADC_OFFSET_NONE;
  sConfig.Offset = 0;
  if (HAL_ADC_ConfigChannel(&hadc1, &sConfig) != HAL_OK)
  {
    _Error_Handler(__FILE__, __LINE__);
  }

    /**Configure Regular Channel
    */
  sConfig.Channel = ADC_CHANNEL_8;
  sConfig.Rank = ADC_REGULAR_RANK_2;
  if (HAL_ADC_ConfigChannel(&hadc1, &sConfig) != HAL_OK)
  {
    _Error_Handler(__FILE__, __LINE__);
  }

    /**Configure Regular Channel
    */
  sConfig.Channel = ADC_CHANNEL_12;
  sConfig.Rank = ADC_REGULAR_RANK_3;
  if (HAL_ADC_ConfigChannel(&hadc1, &sConfig) != HAL_OK)
  {
    _Error_Handler(__FILE__, __LINE__);
  }

}

/* DAC init function */
static void MX_DAC_Init(void)
{

  DAC_ChannelConfTypeDef sConfig;

    /**DAC Initialization
    */
  hdac.Instance = DAC;
  if (HAL_DAC_Init(&hdac) != HAL_OK)
  {
    _Error_Handler(__FILE__, __LINE__);
  }

    /**DAC channel OUT1 config
    */
  sConfig.DAC_Trigger = DAC_TRIGGER_SOFTWARE;
  sConfig.DAC_OutputBuffer = DAC_OUTPUTBUFFER_DISABLE;
  if (HAL_DAC_ConfigChannel(&hdac, &sConfig, DAC_CHANNEL_1) != HAL_OK)
  {
    _Error_Handler(__FILE__, __LINE__);
  }

}

/* TIM1 init function */
static void MX_TIM1_Init(void)
{

  TIM_SlaveConfigTypeDef sSlaveConfig;
  TIM_MasterConfigTypeDef sMasterConfig;
  TIM_OC_InitTypeDef sConfigOC;
  TIM_BreakDeadTimeConfigTypeDef sBreakDeadTimeConfig;

  htim1.Instance = TIM1;
  htim1.Init.Prescaler = ((TIM_CLOCK_DIVIDER) - 1);
  htim1.Init.CounterMode = TIM_COUNTERMODE_CENTERALIGNED1;
  htim1.Init.Period = ((PWM_PERIOD_CYCLES) / 2);
  htim1.Init.ClockDivision = TIM_CLOCKDIVISION_DIV2;
  htim1.Init.RepetitionCounter = (REP_COUNTER);
  htim1.Init.AutoReloadPreload = TIM_AUTORELOAD_PRELOAD_DISABLE;
  if (HAL_TIM_Base_Init(&htim1) != HAL_OK)
  {
    _Error_Handler(__FILE__, __LINE__);
  }

  if (HAL_TIM_PWM_Init(&htim1) != HAL_OK)
  {
    _Error_Handler(__FILE__, __LINE__);
  }

  sSlaveConfig.SlaveMode = TIM_SLAVEMODE_TRIGGER;
  sSlaveConfig.InputTrigger = TIM_TS_ITR1;
  if (HAL_TIM_SlaveConfigSynchronization(&htim1, &sSlaveConfig) != HAL_OK)
  {
    _Error_Handler(__FILE__, __LINE__);
  }

  sMasterConfig.MasterOutputTrigger = TIM_TRGO_OC4REF;
  sMasterConfig.MasterOutputTrigger2 = TIM_TRGO2_RESET;
  sMasterConfig.MasterSlaveMode = TIM_MASTERSLAVEMODE_DISABLE;
  if (HAL_TIMEx_MasterConfigSynchronization(&htim1, &sMasterConfig) != HAL_OK)
  {
    _Error_Handler(__FILE__, __LINE__);
  }

  sConfigOC.OCMode = TIM_OCMODE_PWM1;
  sConfigOC.Pulse = ((PWM_PERIOD_CYCLES) / 4);
  sConfigOC.OCPolarity = TIM_OCPOLARITY_HIGH;
  sConfigOC.OCNPolarity = TIM_OCNPOLARITY_HIGH;
  sConfigOC.OCFastMode = TIM_OCFAST_DISABLE;
  sConfigOC.OCIdleState = TIM_OCIDLESTATE_RESET;
  sConfigOC.OCNIdleState = TIM_OCNIDLESTATE_RESET;
  if (HAL_TIM_PWM_ConfigChannel(&htim1, &sConfigOC, TIM_CHANNEL_1) != HAL_OK)
  {
    _Error_Handler(__FILE__, __LINE__);
  }

  if (HAL_TIM_PWM_ConfigChannel(&htim1, &sConfigOC, TIM_CHANNEL_2) != HAL_OK)
  {
    _Error_Handler(__FILE__, __LINE__);
  }

  if (HAL_TIM_PWM_ConfigChannel(&htim1, &sConfigOC, TIM_CHANNEL_3) != HAL_OK)
  {
    _Error_Handler(__FILE__, __LINE__);
  }

  sConfigOC.OCMode = TIM_OCMODE_PWM2;
  sConfigOC.Pulse = (((PWM_PERIOD_CYCLES) / 2) - (HTMIN));
  if (HAL_TIM_PWM_ConfigChannel(&htim1, &sConfigOC, TIM_CHANNEL_4) != HAL_OK)
  {
    _Error_Handler(__FILE__, __LINE__);
  }

  sBreakDeadTimeConfig.OffStateRunMode = TIM_OSSR_ENABLE;
  sBreakDeadTimeConfig.OffStateIDLEMode = TIM_OSSI_ENABLE;
  sBreakDeadTimeConfig.LockLevel = TIM_LOCKLEVEL_1;
  sBreakDeadTimeConfig.DeadTime = 0;
  sBreakDeadTimeConfig.BreakState = TIM_BREAK_ENABLE;
  sBreakDeadTimeConfig.BreakPolarity = TIM_BREAKPOLARITY_HIGH;
  sBreakDeadTimeConfig.BreakFilter = 0;
  sBreakDeadTimeConfig.Break2State = TIM_BREAK2_ENABLE;
  sBreakDeadTimeConfig.Break2Polarity = TIM_BREAK2POLARITY_LOW;
  sBreakDeadTimeConfig.Break2Filter = 7;
  sBreakDeadTimeConfig.AutomaticOutput = TIM_AUTOMATICOUTPUT_DISABLE;
  if (HAL_TIMEx_ConfigBreakDeadTime(&htim1, &sBreakDeadTimeConfig) != HAL_OK)
  {
    _Error_Handler(__FILE__, __LINE__);
  }

  HAL_TIM_MspPostInit(&htim1);

}

/* USART2 init function */
static void MX_USART2_UART_Init(void)
{

  huart2.Instance = USART2;
  huart2.Init.BaudRate = 115200;
  huart2.Init.WordLength = UART_WORDLENGTH_8B;
  huart2.Init.StopBits = UART_STOPBITS_1;
  huart2.Init.Parity = UART_PARITY_NONE;
  huart2.Init.Mode = UART_MODE_TX_RX;
  huart2.Init.HwFlowCtl = UART_HWCONTROL_NONE;
  huart2.Init.OverSampling = UART_OVERSAMPLING_16;
  huart2.Init.OneBitSampling = UART_ONE_BIT_SAMPLE_DISABLE;
  huart2.AdvancedInit.AdvFeatureInit = UART_ADVFEATURE_NO_INIT;
  if (HAL_UART_Init(&huart2) != HAL_OK)
  {
    _Error_Handler(__FILE__, __LINE__);
  }

}

/** Configure pins as
        * Analog
        * Input
        * Output
        * EVENT_OUT
        * EXTI
*/
static void MX_GPIO_Init(void)
{

  GPIO_InitTypeDef GPIO_InitStruct;

  /* GPIO Ports Clock Enable */
  __HAL_RCC_GPIOC_CLK_ENABLE();
  __HAL_RCC_GPIOF_CLK_ENABLE();
  __HAL_RCC_GPIOA_CLK_ENABLE();
  __HAL_RCC_GPIOB_CLK_ENABLE();

  /*Configure GPIO pin Output Level */
  HAL_GPIO_WritePin(GPIOB, Red_LED_Pin|Green_LED_Pin, GPIO_PIN_RESET);

  /*Configure GPIO pin Output Level */
  HAL_GPIO_WritePin(GPIOC, M1_PWM_EN_U_Pin|M1_PWM_EN_V_Pin|M1_PWM_EN_W_Pin, GPIO_PIN_RESET);

  /*Configure GPIO pin : Start_Stop_Pin */
  GPIO_InitStruct.Pin = Start_Stop_Pin;
  GPIO_InitStruct.Mode = GPIO_MODE_IT_FALLING;
  GPIO_InitStruct.Pull = GPIO_NOPULL;
  HAL_GPIO_Init(Start_Stop_GPIO_Port, &GPIO_InitStruct);

  /*Configure GPIO pins : Red_LED_Pin Green_LED_Pin */
  GPIO_InitStruct.Pin = Red_LED_Pin|Green_LED_Pin;
  GPIO_InitStruct.Mode = GPIO_MODE_OUTPUT_PP;
  GPIO_InitStruct.Pull = GPIO_NOPULL;
  GPIO_InitStruct.Speed = GPIO_SPEED_FREQ_LOW;
  HAL_GPIO_Init(GPIOB, &GPIO_InitStruct);

  /*Configure GPIO pins : M1_PWM_EN_U_Pin M1_PWM_EN_V_Pin M1_PWM_EN_W_Pin */
  GPIO_InitStruct.Pin = M1_PWM_EN_U_Pin|M1_PWM_EN_V_Pin|M1_PWM_EN_W_Pin;
  GPIO_InitStruct.Mode = GPIO_MODE_OUTPUT_PP;
  GPIO_InitStruct.Pull = GPIO_PULLDOWN;
  GPIO_InitStruct.Speed = GPIO_SPEED_FREQ_HIGH;
  HAL_GPIO_Init(GPIOC, &GPIO_InitStruct);

}

/* USER CODE BEGIN 4 */

/* This callback is executed once the regular conversion defined by PotentiometerHandle is done
 *
 */
void potentiometer_cb(uint8_t handle, uint16_t potentiometer_value, void *UserData)
{
  uint16_t speed_reference;       /* Motor speed to program in ramp (RPM) */
  speed_reference = (65520 - potentiometer_value) * MAX_APPLICATION_SPEED_RPM / 65520;
  /* Speed reference is divded by 6 to convert it in 01Hz unit. */
  MC_ProgramSpeedRampMotor1( speed_reference / 6, SPEED_RAMP_DURATION );
}

/* USER CODE END 4 */

void _Error_Handler(char *file, int line)
{
  while(1)
  {
  }
}

/************************ (C) COPYRIGHT STMicroelectronics *****END OF FILE****/
